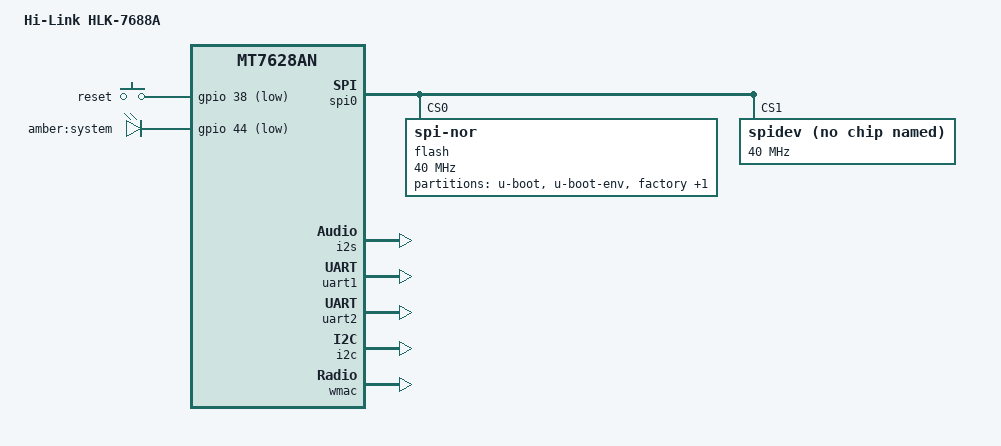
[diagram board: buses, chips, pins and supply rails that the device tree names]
// SPDX-License-Identifier: GPL-2.0-or-later OR MIT

#include "mt7628an.dtsi"
#include "pca9635.dtsi"
#include <dt-bindings/gpio/gpio.h>
#include <dt-bindings/input/input.h>
#include <dt-bindings/leds/common.h>

/ {
	compatible = "hilink,hlk-7688a", "mediatek,mt7628an-soc";
	model = "Hi-Link HLK-7688A";

	aliases {
		led-boot = &led_system;
		led-failsafe = &led_system;
		led-running = &led_system;
		led-upgrade = &led_system;
	};
	
	chosen {
		bootargs = "console=ttyS0,115200";
	};

	keys {
		compatible = "gpio-keys";

		reset {
			label = "reset";
			gpios = <&gpio 38 GPIO_ACTIVE_LOW>;
			linux,code = <KEY_RESTART>;
		};
	};

	leds {
		compatible = "gpio-leds";

		// led_wlan: wlan {
		// 	function = LED_FUNCTION_WLAN;
		// 	color = <LED_COLOR_ID_GREEN>;
		// 	gpios = <&gpio 44 GPIO_ACTIVE_LOW>;
		// 	linux,default-trigger = "phy0tpt";
		// };
		led_system: system {
			label = "amber:system";
			gpios = <&gpio 44 GPIO_ACTIVE_LOW>;
		};
	};
};

&state_default {
	gpio {
		groups = "gpio";
		function = "gpio";
	};

	perst {
		groups = "perst";
		function = "gpio";
	};

	refclk {
		groups = "refclk";
		function = "gpio";
	};

	sdxc {
		groups = "sdmode";
		function = "gpio";
	};

	perst {
		groups = "perst";
		function = "gpio";
	};

	refclk {
		groups = "refclk";
		function = "gpio";
	};

	pwm0 {
		groups = "pwm0";
		function = "gpio";
	};

	pwm1 {
		groups = "pwm1";
		function = "gpio";
	};

	spis {
		groups = "spis";
		function = "gpio";
	};

	wled_kn {
		groups = "wled_kn";
		function = "gpio";
	};

	wled_an {
		groups = "wled_an";
		function = "gpio";
	};

	wdt {
		groups = "wdt";
		function = "gpio";
	};

};


&spi0 {
	status = "okay";

	pinctrl-names = "default";
	pinctrl-0 = <&spi_pins>, <&spi_cs1_pins>;

	flash@0 {
		compatible = "jedec,spi-nor";
		reg = <0>;
		spi-max-frequency = <40000000>;
		broken-flash-reset;

		partitions {
			compatible = "fixed-partitions";
			#address-cells = <1>;
			#size-cells = <1>;

			partition@0 {
				label = "u-boot";
				reg = <0x0 0x30000>;
				read-only;
			};

			partition@30000 {
				label = "u-boot-env";
				reg = <0x30000 0x10000>;
				read-only;
			};

			partition@40000 {
				label = "factory";
				reg = <0x40000 0x10000>;
				read-only;

				nvmem-layout {
					compatible = "fixed-layout";
					#address-cells = <1>;
					#size-cells = <1>;

					eeprom_factory_0: eeprom@0 {
						reg = <0x0 0x400>;
					};

					macaddr_factory_28: macaddr@28 {
						reg = <0x28 0x6>;
					};
				};
			};

			partition@50000 {
				compatible = "denx,uimage";
				label = "firmware";
				reg = <0x50000 0x1fb0000>;
			};
		};
	};

	spidev@1 {
		#address-cells = <1>;
		#size-cells = <1>;
		compatible = "linux,spidev";
		reg = <1>;
		spi-max-frequency = <40000000>;
	};
};

&i2s {
	status = "okay";
};

&uart1 {
	status = "okay";
};

&uart2 {
	status = "okay";
};

&i2c {
	status = "okay";
};

&ethernet {
	nvmem-cells = <&macaddr_factory_28>;
	nvmem-cell-names = "mac-address";
};

// &esw {
// 	mediatek,portmap = <0x21>;
// };

&pinctrl {
	ephy-digital;
};

&sdhci {
	status = "disabled";
};

&wmac {
	status = "okay";

	nvmem-cells = <&eeprom_factory_0>;
	nvmem-cell-names = "eeprom";
};
